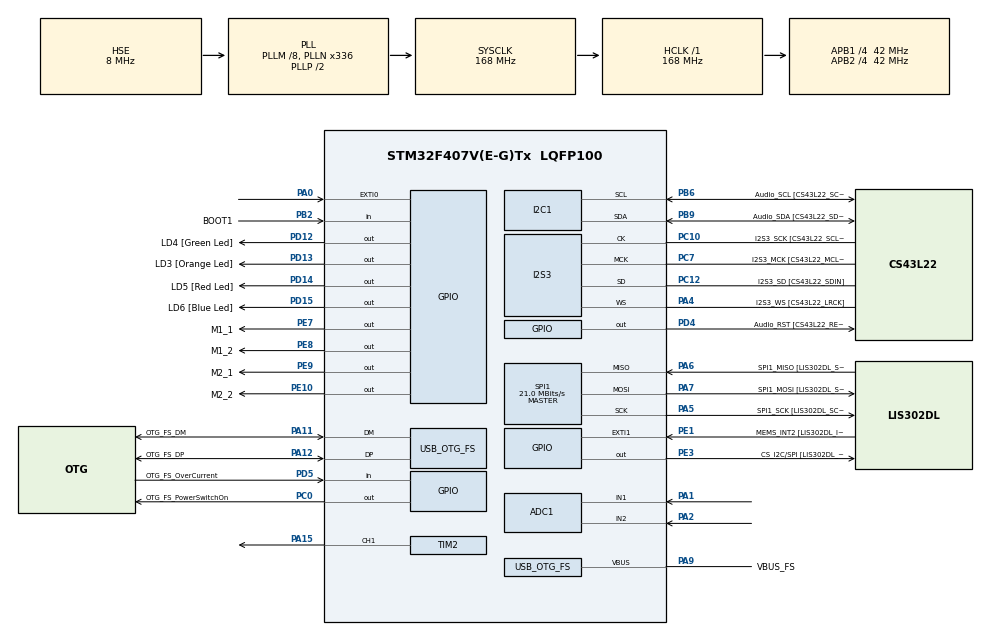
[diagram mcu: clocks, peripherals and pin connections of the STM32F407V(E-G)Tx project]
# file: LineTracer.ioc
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ADC1.Channel-0\#ChannelRegularConversion=ADC_CHANNEL_1
ADC1.Channel-1\#ChannelRegularConversion=ADC_CHANNEL_2
ADC1.ContinuousConvMode=DISABLE
ADC1.DiscontinuousConvMode=ENABLE
ADC1.NbrOfConversion=2
ADC1.NbrOfConversionFlag=1
ADC1.NbrOfDiscConversion=2
ADC1.Rank-0\#ChannelRegularConversion=1
ADC1.Rank-1\#ChannelRegularConversion=2
ADC1.SamplingTime-0\#ChannelRegularConversion=ADC_SAMPLETIME_480CYCLES
ADC1.SamplingTime-1\#ChannelRegularConversion=ADC_SAMPLETIME_480CYCLES
ADC1.ScanConvMode=ENABLE
ADC1.master=1
I2S3.AudioFreq-Half_Duplex_Master=I2S_AUDIOFREQ_96K
I2S3.ErrorAudioFreq=-2.34 %
I2S3.ErrorAudioFreq-Half_Duplex_Master=0.8 %
I2S3.FullDuplexMode=I2S_FULLDUPLEXMODE_DISABLE
I2S3.Instance=SPI$Index
I2S3.RealAudioFreq=93.75 KHz
I2S3.RealAudioFreq-Half_Duplex_Master=96.774 KHz
I2S3.VirtualMode=I2S_MODE_MASTER
Mcu.Family=STM32F4
Mcu.Name=STM32F407V(E-G)Tx
Mcu.Package=LQFP100
NVIC.ADC_IRQn=true\:0\:0\:false\:false\:true\:true\:true\:true
NVIC.EXTI0_IRQn=true\:0\:0\:false\:false\:true\:true\:true\:true
NVIC.OTG_FS_IRQn=true\:0\:0\:false\:false\:true\:true\:true\:true
NVIC.PriorityGroup=NVIC_PRIORITYGROUP_0
PA0-WKUP.Signal=GPXTI0
PA1.Signal=ADCx_IN1
PA10.GPIO_Label=OTG_FS_ID
PA10.GPIO_Mode=GPIO_MODE_AF_PP
PA10.GPIO_PuPd=GPIO_NOPULL
PA10.GPIO_Speed=GPIO_SPEED_FREQ_LOW
PA10.Signal=USB_OTG_FS_ID
PA11.GPIO_Label=OTG_FS_DM
PA11.GPIO_Mode=GPIO_MODE_AF_PP
PA11.GPIO_PuPd=GPIO_NOPULL
PA11.GPIO_Speed=GPIO_SPEED_FREQ_LOW
PA11.Mode=Host_Only
PA11.Signal=USB_OTG_FS_DM
PA12.GPIO_Label=OTG_FS_DP
PA12.GPIO_Mode=GPIO_MODE_AF_PP
PA12.GPIO_PuPd=GPIO_NOPULL
PA12.GPIO_Speed=GPIO_SPEED_FREQ_LOW
PA12.Mode=Host_Only
PA12.Signal=USB_OTG_FS_DP
PA13.GPIO_Label=SWDIO
PA13.Mode=Serial_Wire
PA13.Signal=SYS_JTMS-SWDIO
PA14.GPIO_Label=SWCLK
PA14.Mode=Serial_Wire
PA14.Signal=SYS_JTCK-SWCLK
PA15.Signal=S_TIM2_CH1_ETR
PA2.Signal=ADCx_IN2
PA4.GPIO_Label=I2S3_WS [CS43L22_LRCK]
PA4.GPIO_Mode=GPIO_MODE_AF_PP
PA4.GPIO_PuPd=GPIO_NOPULL
PA4.GPIO_Speed=GPIO_SPEED_FREQ_LOW
PA4.Mode=Half_Duplex_Master
PA4.Signal=I2S3_WS
PA5.GPIO_Label=SPI1_SCK [LIS302DL_SCL/SPC]
PA5.GPIO_Mode=GPIO_MODE_AF_PP
PA5.GPIO_PuPd=GPIO_NOPULL
PA5.GPIO_Speed=GPIO_SPEED_FREQ_LOW
PA5.Mode=Full_Duplex_Master
PA5.Signal=SPI1_SCK
PA6.GPIO_Label=SPI1_MISO [LIS302DL_SDO]
PA6.GPIO_Mode=GPIO_MODE_AF_PP
PA6.GPIO_PuPd=GPIO_NOPULL
PA6.GPIO_Speed=GPIO_SPEED_FREQ_LOW
PA6.Mode=Full_Duplex_Master
PA6.Signal=SPI1_MISO
PA7.GPIO_Label=SPI1_MOSI [LIS302DL_SDA/SDI/SDO]
PA7.GPIO_Mode=GPIO_MODE_AF_PP
PA7.GPIO_PuPd=GPIO_NOPULL
PA7.GPIO_Speed=GPIO_SPEED_FREQ_LOW
PA7.Mode=Full_Duplex_Master
PA7.Signal=SPI1_MOSI
PA9.GPIO_Label=VBUS_FS
PA9.GPIO_Mode=GPIO_MODE_INPUT
PA9.GPIO_PuPd=GPIO_NOPULL
PA9.Mode=Activate_VBUS
PA9.Signal=USB_OTG_FS_VBUS
PB10.GPIO_Label=CLK_IN [MP45DT02_CLK]
PB10.GPIO_Mode=GPIO_MODE_AF_PP
PB10.GPIO_PuPd=GPIO_NOPULL
PB10.GPIO_Speed=GPIO_SPEED_FREQ_LOW
PB10.Signal=I2S2_CK
PB2.GPIO_Label=BOOT1
PB2.GPIO_Mode=GPIO_MODE_INPUT
PB2.GPIO_PuPd=GPIO_NOPULL
PB2.Signal=GPIO_Input
PB3.GPIO_Label=SWO
PB3.Signal=SYS_JTDO-SWO
PB6.GPIO_Label=Audio_SCL [CS43L22_SCL]
PB6.GPIO_Mode=GPIO_MODE_AF_OD
PB6.GPIO_Pu=GPIO_PULLUP
PB6.GPIO_PuPd=GPIO_NOPULL
PB6.GPIO_Speed=GPIO_SPEED_FREQ_LOW
PB6.Mode=I2C
PB6.Signal=I2C1_SCL
PB9.GPIO_Label=Audio_SDA [CS43L22_SDA]
PB9.GPIO_Mode=GPIO_MODE_AF_OD
PB9.GPIO_Pu=GPIO_PULLUP
PB9.GPIO_PuPd=GPIO_NOPULL
PB9.GPIO_Speed=GPIO_SPEED_FREQ_LOW
PB9.Mode=I2C
PB9.Signal=I2C1_SDA
PC0.GPIO_Label=OTG_FS_PowerSwitchOn
PC0.GPIO_PuPd=GPIO_NOPULL
PC0.GPIO_Speed=GPIO_SPEED_FREQ_LOW
PC0.PinState=GPIO_PIN_SET
PC0.Signal=GPIO_Output
PC10.GPIO_Label=I2S3_SCK [CS43L22_SCLK]
PC10.GPIO_Mode=GPIO_MODE_AF_PP
PC10.GPIO_PuPd=GPIO_NOPULL
PC10.GPIO_Speed=GPIO_SPEED_FREQ_LOW
PC10.Mode=Half_Duplex_Master
PC10.Signal=I2S3_CK
PC12.GPIO_Label=I2S3_SD [CS43L22_SDIN]
PC12.GPIO_Mode=GPIO_MODE_AF_PP
PC12.GPIO_PuPd=GPIO_NOPULL
PC12.GPIO_Speed=GPIO_SPEED_FREQ_LOW
PC12.Mode=Half_Duplex_Master
PC12.Signal=I2S3_SD
PC14-OSC32_IN.GPIO_Label=PC14-OSC32_IN
PC14-OSC32_IN.Mode=LSE-External-Oscillator
PC14-OSC32_IN.Signal=RCC_OSC32_IN
PC15-OSC32_OUT.GPIO_Label=PC15-OSC32_OUT
PC15-OSC32_OUT.Mode=LSE-External-Oscillator
PC15-OSC32_OUT.Signal=RCC_OSC32_OUT
PC3.GPIO_Label=PDM_OUT [MP45DT02_DOUT]
PC3.GPIO_Mode=GPIO_MODE_AF_PP
PC3.GPIO_PuPd=GPIO_NOPULL
PC3.GPIO_Speed=GPIO_SPEED_FREQ_LOW
PC3.Signal=I2S2_SD
PC7.GPIO_Label=I2S3_MCK [CS43L22_MCLK]
PC7.GPIO_Mode=GPIO_MODE_AF_PP
PC7.GPIO_PuPd=GPIO_NOPULL
PC7.GPIO_Speed=GPIO_SPEED_FREQ_LOW
PC7.Mode=Master_Clock_Activated
PC7.Signal=I2S3_MCK
PD12.GPIO_Label=LD4 [Green Led]
PD12.GPIO_PuPd=GPIO_NOPULL
PD12.GPIO_Speed=GPIO_SPEED_FREQ_LOW
PD12.Signal=GPIO_Output
PD13.GPIO_Label=LD3 [Orange Led]
PD13.GPIO_PuPd=GPIO_NOPULL
PD13.GPIO_Speed=GPIO_SPEED_FREQ_LOW
PD13.Signal=GPIO_Output
PD14.GPIO_Label=LD5 [Red Led]
PD14.GPIO_PuPd=GPIO_NOPULL
PD14.GPIO_Speed=GPIO_SPEED_FREQ_LOW
PD14.Signal=GPIO_Output
PD15.GPIO_Label=LD6 [Blue Led]
PD15.GPIO_PuPd=GPIO_NOPULL
PD15.GPIO_Speed=GPIO_SPEED_FREQ_LOW
PD15.Signal=GPIO_Output
PD4.GPIO_Label=Audio_RST [CS43L22_RESET]
PD4.GPIO_PuPd=GPIO_NOPULL
PD4.GPIO_Speed=GPIO_SPEED_FREQ_LOW
PD4.Signal=GPIO_Output
PD5.GPIO_Label=OTG_FS_OverCurrent
PD5.GPIO_Mode=GPIO_MODE_INPUT
PD5.GPIO_PuPd=GPIO_NOPULL
PD5.Signal=GPIO_Input
PE1.GPIO_Label=MEMS_INT2 [LIS302DL_INT2]
PE1.GPIO_ModeDefaultEXTI=GPIO_MODE_EVT_RISING
PE1.GPIO_PuPd=GPIO_NOPULL
PE1.Signal=GPXTI1
PE10.GPIO_Label=M2_2
PE10.Signal=GPIO_Output
PE3.GPIO_Label=CS_I2C/SPI [LIS302DL_CS_I2C/SPI]
PE3.GPIO_PuPd=GPIO_NOPULL
PE3.GPIO_Speed=GPIO_SPEED_FREQ_LOW
PE3.Signal=GPIO_Output
PE7.GPIO_Label=M1_1
PE7.Signal=GPIO_Output
PE8.GPIO_Label=M1_2
PE8.Signal=GPIO_Output
PE9.GPIO_Label=M2_1
PE9.Signal=GPIO_Output
PH0-OSC_IN.GPIO_Label=PH0-OSC_IN
PH0-OSC_IN.Mode=HSE-External-Oscillator
PH0-OSC_IN.Signal=RCC_OSC_IN
PH1-OSC_OUT.GPIO_Label=PH1-OSC_OUT
PH1-OSC_OUT.Mode=HSE-External-Oscillator
PH1-OSC_OUT.Signal=RCC_OSC_OUT
ProjectManager.HeapSize=0x200
ProjectManager.StackSize=0x400
ProjectManager.TargetToolchain=STM32CubeIDE
RCC.48MHZClocksFreq_Value=48000000
RCC.AHBFreq_Value=168000000
RCC.APB1CLKDivider=RCC_HCLK_DIV4
RCC.APB1Freq_Value=42000000
RCC.APB1TimFreq_Value=84000000
RCC.APB2CLKDivider=RCC_HCLK_DIV4
RCC.APB2Freq_Value=42000000
RCC.APB2TimFreq_Value=84000000
RCC.CortexFreq_Value=168000000
RCC.HCLKFreq_Value=168000000
RCC.HSE_VALUE=8000000
RCC.HSI_VALUE=16000000
RCC.PLLM=8
RCC.PLLN=336
RCC.PLLQ=7
RCC.SYSCLKFreq_VALUE=168000000
RCC.SYSCLKSource=RCC_SYSCLKSOURCE_PLLCLK
RCC.VCOOutputFreq_Value=336000000
SH.ADCx_IN1.0=ADC1_IN1,IN1
SH.ADCx_IN2.0=ADC1_IN2,IN2
SH.S_TIM2_CH1_ETR.0=TIM2_CH1,PWM Generation1 CH1
SPI1.BaudRatePrescaler-Full_Duplex_Master=SPI_BAUDRATEPRESCALER_2
SPI1.CalculateBaudRate=21.0 MBits/s
SPI1.CalculateBaudRate-Full_Duplex_Master=42.0 MBits/s
SPI1.Direction=SPI_DIRECTION_2LINES
SPI1.Mode=SPI_MODE_MASTER
SPI1.Mode-Full_Duplex_Master=SPI_MODE_MASTER
SPI1.VirtualType=VM_MASTER
TIM2.Channel-PWM\ Generation1\ CH1=TIM_CHANNEL_1
TIM2.Period=1000-1
TIM2.Prescaler=84-1
TIM2.Pulse-PWM\ Generation1\ CH1=450-1
USB_HOST.BSP.number=1
USB_HOST.USBH_HandleTypeDef-CDC_FS=hUsbHostFS
USB_HOST.VirtualModeFS=Cdc
USB_HOST0.BSP.STBoard=false
USB_HOST0.BSP.api=Unknown
USB_HOST0.BSP.instance=PC0
USB_HOST0.BSP.ip=GPIO
USB_HOST0.BSP.mode=Output
USB_HOST0.BSP.name=Drive_VBUS_FS
USB_HOST0.BSP.solution=PC0
USB_OTG_FS.VirtualMode=Host_Only
USB_OTG_FS.phy_itface=HCD_PHY_EMBEDDED
VP_TIM2_VS_ClockSourceINT.Mode=Internal
VP_USB_HOST_VS_USB_HOST_CDC_FS.Mode=CDC_FS
board=STM32F407G-DISC1

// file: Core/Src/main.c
/* USER CODE BEGIN Header */
/**
  ******************************************************************************
  * @file           : main.c
  * @brief          : Main program body
  ******************************************************************************
  * @attention
  *
  * Copyright (c) 2023 STMicroelectronics.
  * All rights reserved.
  *
  * This software is licensed under terms that can be found in the LICENSE file
  * in the root directory of this software component.
  * If no LICENSE file comes with this software, it is provided AS-IS.
  *
  ******************************************************************************
  */
/* USER CODE END Header */
#include "main.h"
#include "usb_host.h"

/* USER CODE BEGIN PTD */
typedef struct motor {
	GPIO_TypeDef *gp;
	uint16_t pin;
}Motor;

typedef enum motor_state {
	STOP,
	FORWARD,
	LEFT,
	RIGHT,
	BACKWARD
}MOTOR_STATE;
/* USER CODE END PTD */

ADC_HandleTypeDef hadc1;

I2C_HandleTypeDef hi2c1;

I2S_HandleTypeDef hi2s3;

SPI_HandleTypeDef hspi1;

TIM_HandleTypeDef htim2;

/* USER CODE BEGIN PV */
uint8_t flag;
uint16_t ir_value_l;
uint16_t ir_value_r;

GPIO_PinState motor_state[5][4] = {{RESET, RESET, RESET, RESET}, {RESET, SET, RESET, SET}, {SET, RESET, RESET, SET}, {RESET, SET, SET, RESET}, {SET, RESET, SET, RESET}};

Motor mp[4] = {
		{GPIOE, GPIO_PIN_7},
		{GPIOE, GPIO_PIN_8},
		{GPIOE, GPIO_PIN_9},
		{GPIOE, GPIO_PIN_10}
};

MOTOR_STATE MS;
/* USER CODE END PV */

void SystemClock_Config(void);
static void MX_GPIO_Init(void);
static void MX_I2C1_Init(void);
static void MX_I2S3_Init(void);
static void MX_SPI1_Init(void);
static void MX_ADC1_Init(void);
static void MX_TIM2_Init(void);
void MX_USB_HOST_Process(void);

/* USER CODE BEGIN PFP */
void motor_control();
/* USER CODE END PFP */

/* USER CODE BEGIN 0 */
void motor_control() {
	/*
	if(MS == STOP) {
		HAL_GPIO_WritePin(mp[0].gp, mp[0].pin, RESET);
		HAL_GPIO_WritePin(mp[1].gp, mp[1].pin, RESET);
		HAL_GPIO_WritePin(mp[2].gp, mp[2].pin, RESET);
		HAL_GPIO_WritePin(mp[3].gp, mp[3].pin, RESET);
	}
	else if(MS == FORWARD) {
		HAL_GPIO_WritePin(mp[0].gp, mp[0].pin, RESET);
		HAL_GPIO_WritePin(mp[1].gp, mp[1].pin, SET);
		HAL_GPIO_WritePin(mp[2].gp, mp[2].pin, RESET);
		HAL_GPIO_WritePin(mp[3].gp, mp[3].pin, SET);
	}
	else if(MS == LEFT) {
		HAL_GPIO_WritePin(mp[0].gp, mp[0].pin, SET);
		HAL_GPIO_WritePin(mp[1].gp, mp[1].pin, RESET);
		HAL_GPIO_WritePin(mp[2].gp, mp[2].pin, RESET);
		HAL_GPIO_WritePin(mp[3].gp, mp[3].pin, SET);
	}
	else if(MS == RIGHT) {
		HAL_GPIO_WritePin(mp[0].gp, mp[0].pin, RESET);
		HAL_GPIO_WritePin(mp[1].gp, mp[1].pin, SET);
		HAL_GPIO_WritePin(mp[2].gp, mp[2].pin, SET);
		HAL_GPIO_WritePin(mp[3].gp, mp[3].pin, RESET);
	}
	else if(MS == BACKWARD) {
		HAL_GPIO_WritePin(mp[0].gp, mp[0].pin, SET);
		HAL_GPIO_WritePin(mp[1].gp, mp[1].pin, RESET);
		HAL_GPIO_WritePin(mp[2].gp, mp[2].pin, SET);
		HAL_GPIO_WritePin(mp[3].gp, mp[3].pin, RESET);
	}
	*/
	for(uint8_t i = 0; i<4; i++) {
		HAL_GPIO_WritePin(mp[i].gp, mp[i].pin, motor_state[MS][i]);
	}
	if(MS == 2 && MS == 3) htim2.Instance -> CCR1 = 600;
	else htim2.Instance -> CCR1 = 400;

}

void HAL_GPIO_EXTI_Callback(uint16_t GPIO_Pin)
{
	if(flag == 1) flag = 0;
	else flag = 1;
}
/* USER CODE END 0 */
ㅏ를
int main(void)
{

  /* MCU Configuration--------------------------------------------------------*/

  /* Reset of all peripherals, Initializes the Flash interface and the Systick. */
  HAL_Init();

  /* Configure the system clock */
  SystemClock_Config();

  /* Initialize all configured peripherals */
  MX_GPIO_Init();
  MX_I2C1_Init();
  MX_I2S3_Init();
  MX_SPI1_Init();
  MX_USB_HOST_Init();
  MX_ADC1_Init();
  MX_TIM2_Init();
  /* USER CODE BEGIN 2 */
  HAL_TIM_PWM_Start(&htim2, TIM_CHANNEL_1);

  HAL_GPIO_WritePin(mp[0].gp, mp[0].pin, RESET);
  HAL_GPIO_WritePin(mp[1].gp, mp[1].pin, RESET);
  HAL_GPIO_WritePin(mp[2].gp, mp[2].pin, RESET);
  HAL_GPIO_WritePin(mp[3].gp, mp[3].pin, RESET);
  /* USER CODE END 2 */

  /* Infinite loop */
  /* USER CODE BEGIN WHILE */
  while (1)
  {
	  if(flag == 1) {
		  MS = 0;
		  motor_control();
		  HAL_Delay(1000);
	  }
	  else {
		  HAL_ADC_Start(&hadc1);
		  HAL_ADC_PollForConversion(&hadc1, HAL_MAX_DELAY);
		  ir_value_l = HAL_ADC_GetValue(&hadc1);

		  HAL_ADC_Start(&hadc1);
		  HAL_ADC_PollForConversion(&hadc1, HAL_MAX_DELAY);
		  ir_value_r = HAL_ADC_GetValue(&hadc1);

		  if(ir_value_l > 2800) MS = 2;
		  else if(ir_value_r > 2800) MS = 3;
		  else MS = 1;

		  motor_control();
		  if(MS != 1) HAL_Delay(300);
	  }
    /* USER CODE END WHILE */
    MX_USB_HOST_Process();

  }
}

void SystemClock_Config(void)
{
  RCC_OscInitTypeDef RCC_OscInitStruct = {0};
  RCC_ClkInitTypeDef RCC_ClkInitStruct = {0};

  /** Configure the main internal regulator output voltage
  */
  __HAL_RCC_PWR_CLK_ENABLE();
  __HAL_PWR_VOLTAGESCALING_CONFIG(PWR_REGULATOR_VOLTAGE_SCALE1);

  /** Initializes the RCC Oscillators according to the specified parameters
  * in the RCC_OscInitTypeDef structure.
  */
  RCC_OscInitStruct.OscillatorType = RCC_OSCILLATORTYPE_HSE;
  RCC_OscInitStruct.HSEState = RCC_HSE_ON;
  RCC_OscInitStruct.PLL.PLLState = RCC_PLL_ON;
  RCC_OscInitStruct.PLL.PLLSource = RCC_PLLSOURCE_HSE;
  RCC_OscInitStruct.PLL.PLLM = 8;
  RCC_OscInitStruct.PLL.PLLN = 336;
  RCC_OscInitStruct.PLL.PLLP = RCC_PLLP_DIV2;
  RCC_OscInitStruct.PLL.PLLQ = 7;
  if (HAL_RCC_OscConfig(&RCC_OscInitStruct) != HAL_OK)
  {
    Error_Handler();
  }

  /** Initializes the CPU, AHB and APB buses clocks
  */
  RCC_ClkInitStruct.ClockType = RCC_CLOCKTYPE_HCLK|RCC_CLOCKTYPE_SYSCLK
                              |RCC_CLOCKTYPE_PCLK1|RCC_CLOCKTYPE_PCLK2;
  RCC_ClkInitStruct.SYSCLKSource = RCC_SYSCLKSOURCE_PLLCLK;
  RCC_ClkInitStruct.AHBCLKDivider = RCC_SYSCLK_DIV1;
  RCC_ClkInitStruct.APB1CLKDivider = RCC_HCLK_DIV4;
  RCC_ClkInitStruct.APB2CLKDivider = RCC_HCLK_DIV4;

  if (HAL_RCC_ClockConfig(&RCC_ClkInitStruct, FLASH_LATENCY_5) != HAL_OK)
  {
    Error_Handler();
  }
}

static void MX_ADC1_Init(void)
{

  ADC_ChannelConfTypeDef sConfig = {0};

  /** Configure the global features of the ADC (Clock, Resolution, Data Alignment and number of conversion)
  */
  hadc1.Instance = ADC1;
  hadc1.Init.ClockPrescaler = ADC_CLOCK_SYNC_PCLK_DIV2;
  hadc1.Init.Resolution = ADC_RESOLUTION_12B;
  hadc1.Init.ScanConvMode = ENABLE;
  hadc1.Init.ContinuousConvMode = DISABLE;
  hadc1.Init.DiscontinuousConvMode = ENABLE;
  hadc1.Init.NbrOfDiscConversion = 2;
  hadc1.Init.ExternalTrigConvEdge = ADC_EXTERNALTRIGCONVEDGE_NONE;
  hadc1.Init.ExternalTrigConv = ADC_SOFTWARE_START;
  hadc1.Init.DataAlign = ADC_DATAALIGN_RIGHT;
  hadc1.Init.NbrOfConversion = 2;
  hadc1.Init.DMAContinuousRequests = DISABLE;
  hadc1.Init.EOCSelection = ADC_EOC_SINGLE_CONV;
  if (HAL_ADC_Init(&hadc1) != HAL_OK)
  {
    Error_Handler();
  }

  /** Configure for the selected ADC regular channel its corresponding rank in the sequencer and its sample time.
  */
  sConfig.Channel = ADC_CHANNEL_1;
  sConfig.Rank = 1;
  sConfig.SamplingTime = ADC_SAMPLETIME_480CYCLES;
  if (HAL_ADC_ConfigChannel(&hadc1, &sConfig) != HAL_OK)
  {
    Error_Handler();
  }

  /** Configure for the selected ADC regular channel its corresponding rank in the sequencer and its sample time.
  */
  sConfig.Channel = ADC_CHANNEL_2;
  sConfig.Rank = 2;
  if (HAL_ADC_ConfigChannel(&hadc1, &sConfig) != HAL_OK)
  {
    Error_Handler();
  }

}

static void MX_I2C1_Init(void)
{

  hi2c1.Instance = I2C1;
  hi2c1.Init.ClockSpeed = 100000;
  hi2c1.Init.DutyCycle = I2C_DUTYCYCLE_2;
  hi2c1.Init.OwnAddress1 = 0;
  hi2c1.Init.AddressingMode = I2C_ADDRESSINGMODE_7BIT;
  hi2c1.Init.DualAddressMode = I2C_DUALADDRESS_DISABLE;
  hi2c1.Init.OwnAddress2 = 0;
  hi2c1.Init.GeneralCallMode = I2C_GENERALCALL_DISABLE;
  hi2c1.Init.NoStretchMode = I2C_NOSTRETCH_DISABLE;
  if (HAL_I2C_Init(&hi2c1) != HAL_OK)
  {
    Error_Handler();
  }

}

static void MX_I2S3_Init(void)
{

  hi2s3.Instance = SPI3;
  hi2s3.Init.Mode = I2S_MODE_MASTER_TX;
  hi2s3.Init.Standard = I2S_STANDARD_PHILIPS;
  hi2s3.Init.DataFormat = I2S_DATAFORMAT_16B;
  hi2s3.Init.MCLKOutput = I2S_MCLKOUTPUT_ENABLE;
  hi2s3.Init.AudioFreq = I2S_AUDIOFREQ_96K;
  hi2s3.Init.CPOL = I2S_CPOL_LOW;
  hi2s3.Init.ClockSource = I2S_CLOCK_PLL;
  hi2s3.Init.FullDuplexMode = I2S_FULLDUPLEXMODE_DISABLE;
  if (HAL_I2S_Init(&hi2s3) != HAL_OK)
  {
    Error_Handler();
  }

}

static void MX_SPI1_Init(void)
{

  /* SPI1 parameter configuration*/
  hspi1.Instance = SPI1;
  hspi1.Init.Mode = SPI_MODE_MASTER;
  hspi1.Init.Direction = SPI_DIRECTION_2LINES;
  hspi1.Init.DataSize = SPI_DATASIZE_8BIT;
  hspi1.Init.CLKPolarity = SPI_POLARITY_LOW;
  hspi1.Init.CLKPhase = SPI_PHASE_1EDGE;
  hspi1.Init.NSS = SPI_NSS_SOFT;
  hspi1.Init.BaudRatePrescaler = SPI_BAUDRATEPRESCALER_2;
  hspi1.Init.FirstBit = SPI_FIRSTBIT_MSB;
  hspi1.Init.TIMode = SPI_TIMODE_DISABLE;
  hspi1.Init.CRCCalculation = SPI_CRCCALCULATION_DISABLE;
  hspi1.Init.CRCPolynomial = 10;
  if (HAL_SPI_Init(&hspi1) != HAL_OK)
  {
    Error_Handler();
  }

}

static void MX_TIM2_Init(void)
{

  TIM_ClockConfigTypeDef sClockSourceConfig = {0};
  TIM_MasterConfigTypeDef sMasterConfig = {0};
  TIM_OC_InitTypeDef sConfigOC = {0};

  htim2.Instance = TIM2;
  htim2.Init.Prescaler = 84-1;
  htim2.Init.CounterMode = TIM_COUNTERMODE_UP;
  htim2.Init.Period = 1000-1;
  htim2.Init.ClockDivision = TIM_CLOCKDIVISION_DIV1;
  htim2.Init.AutoReloadPreload = TIM_AUTORELOAD_PRELOAD_DISABLE;
  if (HAL_TIM_Base_Init(&htim2) != HAL_OK)
  {
    Error_Handler();
  }
  sClockSourceConfig.ClockSource = TIM_CLOCKSOURCE_INTERNAL;
  if (HAL_TIM_ConfigClockSource(&htim2, &sClockSourceConfig) != HAL_OK)
  {
    Error_Handler();
  }
  if (HAL_TIM_PWM_Init(&htim2) != HAL_OK)
  {
    Error_Handler();
  }
  sMasterConfig.MasterOutputTrigger = TIM_TRGO_RESET;
  sMasterConfig.MasterSlaveMode = TIM_MASTERSLAVEMODE_DISABLE;
  if (HAL_TIMEx_MasterConfigSynchronization(&htim2, &sMasterConfig) != HAL_OK)
  {
    Error_Handler();
  }
  sConfigOC.OCMode = TIM_OCMODE_PWM1;
  sConfigOC.Pulse = 450-1;
  sConfigOC.OCPolarity = TIM_OCPOLARITY_HIGH;
  sConfigOC.OCFastMode = TIM_OCFAST_DISABLE;
  if (HAL_TIM_PWM_ConfigChannel(&htim2, &sConfigOC, TIM_CHANNEL_1) != HAL_OK)
  {
    Error_Handler();
  }
  HAL_TIM_MspPostInit(&htim2);

}

static void MX_GPIO_Init(void)
{
  GPIO_InitTypeDef GPIO_InitStruct = {0};

  /* GPIO Ports Clock Enable */
  __HAL_RCC_GPIOE_CLK_ENABLE();
  __HAL_RCC_GPIOC_CLK_ENABLE();
  __HAL_RCC_GPIOH_CLK_ENABLE();
  __HAL_RCC_GPIOA_CLK_ENABLE();
  __HAL_RCC_GPIOB_CLK_ENABLE();
  __HAL_RCC_GPIOD_CLK_ENABLE();

  /*Configure GPIO pin Output Level */
  HAL_GPIO_WritePin(GPIOE, CS_I2C_SPI_Pin|M1_1_Pin|M1_2_Pin|M2_1_Pin
                          |M2_2_Pin, GPIO_PIN_RESET);

  /*Configure GPIO pin Output Level */
  HAL_GPIO_WritePin(OTG_FS_PowerSwitchOn_GPIO_Port, OTG_FS_PowerSwitchOn_Pin, GPIO_PIN_SET);

  /*Configure GPIO pin Output Level */
  HAL_GPIO_WritePin(GPIOD, LD4_Pin|LD3_Pin|LD5_Pin|LD6_Pin
                          |Audio_RST_Pin, GPIO_PIN_RESET);

  /*Configure GPIO pins : CS_I2C_SPI_Pin M1_1_Pin M1_2_Pin M2_1_Pin
                           M2_2_Pin */
  GPIO_InitStruct.Pin = CS_I2C_SPI_Pin|M1_1_Pin|M1_2_Pin|M2_1_Pin
                          |M2_2_Pin;
  GPIO_InitStruct.Mode = GPIO_MODE_OUTPUT_PP;
  GPIO_InitStruct.Pull = GPIO_NOPULL;
  GPIO_InitStruct.Speed = GPIO_SPEED_FREQ_LOW;
  HAL_GPIO_Init(GPIOE, &GPIO_InitStruct);

  /*Configure GPIO pin : OTG_FS_PowerSwitchOn_Pin */
  GPIO_InitStruct.Pin = OTG_FS_PowerSwitchOn_Pin;
  GPIO_InitStruct.Mode = GPIO_MODE_OUTPUT_PP;
  GPIO_InitStruct.Pull = GPIO_NOPULL;
  GPIO_InitStruct.Speed = GPIO_SPEED_FREQ_LOW;
  HAL_GPIO_Init(OTG_FS_PowerSwitchOn_GPIO_Port, &GPIO_InitStruct);

  /*Configure GPIO pin : PDM_OUT_Pin */
  GPIO_InitStruct.Pin = PDM_OUT_Pin;
  GPIO_InitStruct.Mode = GPIO_MODE_AF_PP;
  GPIO_InitStruct.Pull = GPIO_NOPULL;
  GPIO_InitStruct.Speed = GPIO_SPEED_FREQ_LOW;
  GPIO_InitStruct.Alternate = GPIO_AF5_SPI2;
  HAL_GPIO_Init(PDM_OUT_GPIO_Port, &GPIO_InitStruct);

  /*Configure GPIO pin : PA0 */
  GPIO_InitStruct.Pin = GPIO_PIN_0;
  GPIO_InitStruct.Mode = GPIO_MODE_IT_RISING;
  GPIO_InitStruct.Pull = GPIO_NOPULL;
  HAL_GPIO_Init(GPIOA, &GPIO_InitStruct);

  /*Configure GPIO pin : BOOT1_Pin */
  GPIO_InitStruct.Pin = BOOT1_Pin;
  GPIO_InitStruct.Mode = GPIO_MODE_INPUT;
  GPIO_InitStruct.Pull = GPIO_NOPULL;
  HAL_GPIO_Init(BOOT1_GPIO_Port, &GPIO_InitStruct);

  /*Configure GPIO pin : CLK_IN_Pin */
  GPIO_InitStruct.Pin = CLK_IN_Pin;
  GPIO_InitStruct.Mode = GPIO_MODE_AF_PP;
  GPIO_InitStruct.Pull = GPIO_NOPULL;
  GPIO_InitStruct.Speed = GPIO_SPEED_FREQ_LOW;
  GPIO_InitStruct.Alternate = GPIO_AF5_SPI2;
  HAL_GPIO_Init(CLK_IN_GPIO_Port, &GPIO_InitStruct);

  /*Configure GPIO pins : LD4_Pin LD3_Pin LD5_Pin LD6_Pin
                           Audio_RST_Pin */
  GPIO_InitStruct.Pin = LD4_Pin|LD3_Pin|LD5_Pin|LD6_Pin
                          |Audio_RST_Pin;
  GPIO_InitStruct.Mode = GPIO_MODE_OUTPUT_PP;
  GPIO_InitStruct.Pull = GPIO_NOPULL;
  GPIO_InitStruct.Speed = GPIO_SPEED_FREQ_LOW;
  HAL_GPIO_Init(GPIOD, &GPIO_InitStruct);

  /*Configure GPIO pin : OTG_FS_OverCurrent_Pin */
  GPIO_InitStruct.Pin = OTG_FS_OverCurrent_Pin;
  GPIO_InitStruct.Mode = GPIO_MODE_INPUT;
  GPIO_InitStruct.Pull = GPIO_NOPULL;
  HAL_GPIO_Init(OTG_FS_OverCurrent_GPIO_Port, &GPIO_InitStruct);

  /*Configure GPIO pin : MEMS_INT2_Pin */
  GPIO_InitStruct.Pin = MEMS_INT2_Pin;
  GPIO_InitStruct.Mode = GPIO_MODE_EVT_RISING;
  GPIO_InitStruct.Pull = GPIO_NOPULL;
  HAL_GPIO_Init(MEMS_INT2_GPIO_Port, &GPIO_InitStruct);

  /* EXTI interrupt init*/
  HAL_NVIC_SetPriority(EXTI0_IRQn, 0, 0);
  HAL_NVIC_EnableIRQ(EXTI0_IRQn);

}

void Error_Handler(void)
{
  __disable_irq();
  while (1)
  {
  }
}
